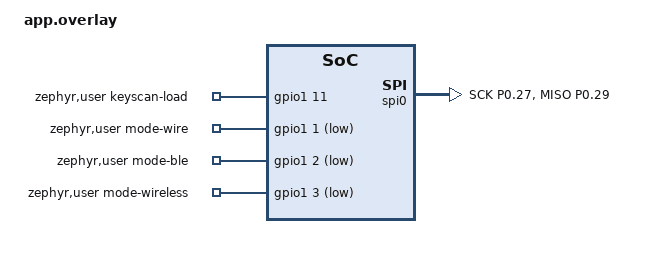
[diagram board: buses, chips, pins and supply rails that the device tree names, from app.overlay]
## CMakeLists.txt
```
# SPDX-License-Identifier: Apache-2.0

cmake_minimum_required(VERSION 3.20.0)
find_package(Zephyr REQUIRED HINTS $ENV{ZEPHYR_BASE})
project(hid-keyboard)

option(KBD_ENABLE_LOG "Enable KBD firmware logs" OFF)
if(KBD_ENABLE_LOG)
	target_compile_definitions(app PRIVATE KBD_ENABLE_LOG)
endif()

include(${ZEPHYR_BASE}/samples/subsys/usb/common/common.cmake)
zephyr_include_directories(src)
add_subdirectory(lib)
target_sources(app PRIVATE
	src/keymap.c
	src/main.c
)
```

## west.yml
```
manifest:
  remotes:
    - name: zephyrproject
      url-base: https://github.com/zephyrproject-rtos

  projects:
    - name: zephyr
      repo-path: zephyr
      remote: zephyrproject
      revision: v4.4.1
      import:
        path-prefix: deps

  self:
    path: applications/KBD_NRF52840
```

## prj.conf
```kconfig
CONFIG_USB_DEVICE_STACK_NEXT=y
CONFIG_CDC_ACM_SERIAL_INITIALIZE_AT_BOOT=n
CONFIG_USBD_HID_SUPPORT=y

CONFIG_LOG=y
CONFIG_USE_SEGGER_RTT=y
CONFIG_SEGGER_RTT_BUFFER_SIZE_UP=4096
CONFIG_RTT_CONSOLE=y
CONFIG_LOG_BACKEND_RTT=y
CONFIG_LOG_BACKEND_RTT_MODE_DROP=y
CONFIG_LOG_BACKEND_RTT_BUFFER_SIZE=4096
CONFIG_LOG_BACKEND_UART=n
CONFIG_UART_CONSOLE=n
CONFIG_CONSOLE=y
CONFIG_PRINTK=y
CONFIG_USBD_LOG_LEVEL_WRN=y
CONFIG_USBD_HID_LOG_LEVEL_WRN=y
CONFIG_UDC_DRIVER_LOG_LEVEL_WRN=y
CONFIG_SAMPLE_USBD_PID=0x0007

CONFIG_GPIO=y
CONFIG_SPI=y
CONFIG_INPUT=y
CONFIG_INPUT_MODE_SYNCHRONOUS=y

# Added automatically by Workbench for Zephyr
#--- DEBUG PRESET - BEGIN ---#
# Set to -Og
CONFIG_DEBUG_OPTIMIZATIONS=y
# Thread awareness support
CONFIG_DEBUG_THREAD_INFO=y
# Generate stack usage per-function
CONFIG_STACK_USAGE=y
# Other options in case not set by default
CONFIG_BUILD_OUTPUT_HEX=y
CONFIG_BUILD_OUTPUT_META=y
CONFIG_OUTPUT_SYMBOLS=y
CONFIG_OUTPUT_STAT=y
CONFIG_OUTPUT_DISASSEMBLY=y
CONFIG_OUTPUT_PRINT_MEMORY_USAGE=y
#--- DEBUG PRESET - END ---#
```

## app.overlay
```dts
/*
 * Copyright (c) 2023 Nordic Semiconductor ASA
 *
 * SPDX-License-Identifier: Apache-2.0
 */

#include <zephyr/dt-bindings/pinctrl/nrf-pinctrl.h>
#include <zephyr/dt-bindings/gpio/gpio.h>

/ {
	aliases {
		keyscan-spi = &spi0;

		/*
		 * Keyboard status LEDs.
		 *
		 * TODO: Replace these aliases with the real keyboard LED nodes
		 * when moving away from the nRF52840 DK LEDs.
		 */
		kbd-led-numlock = &led0;
		kbd-led-capslock = &led1;
		kbd-led-scrolllock = &led2;
	};

	hid_dev_0: hid_dev_0 {
		compatible = "zephyr,hid-device";
		label = "HID0";
		protocol-code = "keyboard";
		in-report-size = <64>;
		in-polling-period-us = <1000>;
		/*
		 * Leave interrupt OUT disabled. Keyboard LED output reports are
		 * handled through the control endpoint SET_REPORT path.
		 */
	};

	zephyr,user {
		keyscan-load-gpios = <&gpio1 11 GPIO_ACTIVE_HIGH>;
		mode-wire-gpios = <&gpio1 1 (GPIO_ACTIVE_LOW | GPIO_PULL_UP)>;
		mode-ble-gpios = <&gpio1 2 (GPIO_ACTIVE_LOW | GPIO_PULL_UP)>;
		mode-wireless-gpios = <&gpio1 3 (GPIO_ACTIVE_LOW | GPIO_PULL_UP)>;
	};
};

&spi0 {
	status = "okay";
	pinctrl-0 = <&kbd_scan_spi0_default>;
	pinctrl-1 = <&kbd_scan_spi0_sleep>;
	pinctrl-names = "default", "sleep";
};

&pinctrl {
	kbd_scan_spi0_default: kbd_scan_spi0_default {
		group1 {
			psels = <NRF_PSEL(SPIM_SCK, 0, 27)>,
				<NRF_PSEL(SPIM_MISO, 0, 29)>;
		};
	};

	kbd_scan_spi0_sleep: kbd_scan_spi0_sleep {
		group1 {
			psels = <NRF_PSEL(SPIM_SCK, 0, 27)>,
				<NRF_PSEL(SPIM_MISO, 0, 29)>;
			low-power-enable;
		};
	};
};
```

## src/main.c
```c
/*
 * Copyright (c) 2024 Nordic Semiconductor ASA
 *
 * SPDX-License-Identifier: Apache-2.0
 */

#include <sample_usbd.h>

#include <string.h>

#include <zephyr/kernel.h>
#include <zephyr/device.h>
#include <zephyr/drivers/gpio.h>
#include <zephyr/input/input.h>
#include <zephyr/sys/util.h>

#include <zephyr/usb/usbd.h>
#include <zephyr/usb/class/usbd_hid.h>

#include <zephyr/logging/log.h>
#include <debounce.h>
#include <kbd_define.h>
#include <key_state.h>
#include <keymap.h>
#include <keyscan_spi.h>
LOG_MODULE_REGISTER(main, KBD_LOG_LEVEL);

static const uint8_t hid_report_desc[] = {
	0x05, 0x01,                    /* Usage Page (Generic Desktop) */
	0x09, 0x06,                    /* Usage (Keyboard) */
	0xa1, 0x01,                    /* Collection (Application) */
	0x85, KBD_HID_REPORT_ID_KEYBOARD,

	0x05, 0x07,                    /* Usage Page (Keyboard/Keypad) */
	0x75, 0x01,                    /* Report Size (1) */
	0x95, 0x08,                    /* Report Count (8) */
	0x19, 0xe0,                    /* Usage Minimum (Left Control) */
	0x29, 0xe7,                    /* Usage Maximum (Right GUI) */
	0x15, 0x00,                    /* Logical Minimum (0) */
	0x25, 0x01,                    /* Logical Maximum (1) */
	0x81, 0x02,                    /* Input (Data, Variable, Absolute) */

	0x95, KBD_HID_KEYBOARD_BITMAP_BITS,
	0x75, 0x01,                    /* Report Size (1) */
	0x15, 0x00,                    /* Logical Minimum (0) */
	0x25, 0x01,                    /* Logical Maximum (1) */
	0x05, 0x07,                    /* Usage Page (Keyboard/Keypad) */
	0x19, 0x00,                    /* Usage Minimum (Reserved) */
	0x29, KBD_HID_KEYBOARD_USAGE_MAX,
	0x81, 0x02,                    /* Input (Data, Variable, Absolute) */

	0x95, 0x05,                    /* Report Count (5) */
	0x75, 0x01,                    /* Report Size (1) */
	0x05, 0x08,                    /* Usage Page (LEDs) */
	0x19, 0x01,                    /* Usage Minimum (Num Lock) */
	0x29, 0x05,                    /* Usage Maximum (Kana) */
	0x91, 0x02,                    /* Output (Data, Variable, Absolute) */
	0x95, 0x01,                    /* Report Count (1) */
	0x75, 0x03,                    /* Report Size (3) */
	0x91, 0x03,                    /* Output (Constant, Variable, Absolute) */
	0xc0,                          /* End Collection */

	0x05, 0x0c,                    /* Usage Page (Consumer) */
	0x09, 0x01,                    /* Usage (Consumer Control) */
	0xa1, 0x01,                    /* Collection (Application) */
	0x85, KBD_HID_REPORT_ID_CONSUMER,
	0x05, 0x0c,                    /* Usage Page (Consumer) */
	0x15, 0x00,                    /* Logical Minimum (0) */
	0x25, 0x01,                    /* Logical Maximum (1) */
	0x75, 0x01,                    /* Report Size (1) */
	0x95, 0x08,                    /* Report Count (8) */
	0x09, 0xe9,                    /* Usage (Volume Increment) */
	0x09, 0xea,                    /* Usage (Volume Decrement) */
	0x09, 0xe2,                    /* Usage (Mute) */
	0x09, 0xcd,                    /* Usage (Play/Pause) */
	0x09, 0xb7,                    /* Usage (Stop) */
	0x09, 0xb5,                    /* Usage (Scan Next Track) */
	0x09, 0xb6,                    /* Usage (Scan Previous Track) */
	0x0a, 0x92, 0x01,              /* Usage (Calculator) */
	0x81, 0x02,                    /* Input (Data, Variable, Absolute) */
	0xc0,                          /* End Collection */
};

enum kb_leds_idx {
	KB_LED_NUMLOCK = 0,
	KB_LED_CAPSLOCK,
	KB_LED_SCROLLLOCK,
	KB_LED_COUNT,
};

static const struct gpio_dt_spec kb_leds[KB_LED_COUNT] = {
	GPIO_DT_SPEC_GET_OR(DT_ALIAS(kbd_led_numlock), gpios, {0}),
	GPIO_DT_SPEC_GET_OR(DT_ALIAS(kbd_led_capslock), gpios, {0}),
	GPIO_DT_SPEC_GET_OR(DT_ALIAS(kbd_led_scrolllock), gpios, {0}),
};

enum keyboard_mode {
	KEYBOARD_MODE_WIRED,
	KEYBOARD_MODE_BLE,
	KEYBOARD_MODE_WIRELESS_24G,
};

#define KBD_USER_NODE DT_PATH(zephyr_user)

static const struct gpio_dt_spec mode_wire =
	GPIO_DT_SPEC_GET(KBD_USER_NODE, mode_wire_gpios);
static const struct gpio_dt_spec mode_ble =
	GPIO_DT_SPEC_GET(KBD_USER_NODE, mode_ble_gpios);
static const struct gpio_dt_spec mode_wireless =
	GPIO_DT_SPEC_GET(KBD_USER_NODE, mode_wireless_gpios);

struct kb_event {
	uint16_t code;
	int32_t value;
};

K_MSGQ_DEFINE(kb_msgq, sizeof(struct kb_event), 2, 1);
K_SEM_DEFINE(scan_sem, 0, 1);

UDC_STATIC_BUF_DEFINE(keyboard_report, KBD_HID_KEYBOARD_REPORT_BYTES);
UDC_STATIC_BUF_DEFINE(consumer_report, KBD_HID_CONSUMER_REPORT_BYTES);
static uint8_t keyboard_report_prev[KBD_HID_KEYBOARD_REPORT_BYTES];
static uint8_t consumer_report_prev[KBD_HID_CONSUMER_REPORT_BYTES];
static uint32_t kb_duration;
static bool kb_ready;
static uint8_t wireless_disconnect_counter;
static uint32_t wireless_keep_alive_fail_counter_ms;
static uint8_t keyboard_led_state;

static void scan_timer_expiry(struct k_timer *timer)
{
	ARG_UNUSED(timer);

	k_sem_give(&scan_sem);
}

K_TIMER_DEFINE(scan_timer, scan_timer_expiry, NULL);

static void keyboard_report_init(void)
{
	keyboard_report[0] = KBD_HID_REPORT_ID_KEYBOARD;
	consumer_report[0] = KBD_HID_REPORT_ID_CONSUMER;
	keyboard_report_prev[0] = KBD_HID_REPORT_ID_KEYBOARD;
	consumer_report_prev[0] = KBD_HID_REPORT_ID_CONSUMER;
}

static void keyboard_leds_set_state(uint8_t led_state)
{
	for (unsigned int i = 0; i < ARRAY_SIZE(kb_leds); i++) {
		bool enabled = (led_state & BIT(i)) != 0U;

		if (kb_leds[i].port == NULL) {
			continue;
		}

		(void)gpio_pin_set_dt(&kb_leds[i], enabled ? 1 : 0);
	}
}

static void keyboard_leds_clear(void)
{
	keyboard_leds_set_state(0);
}

static int keyboard_leds_set_report(const uint8_t id, const uint16_t len,
				    const uint8_t *const buf)
{
	if (len == 0U) {
		return 0;
	}

	if (id != 0U && id != KBD_HID_REPORT_ID_KEYBOARD) {
		LOG_WRN("Unsupported output report ID %u", id);
		return -ENOTSUP;
	}

	if (len > 1U && buf[0] == KBD_HID_REPORT_ID_KEYBOARD) {
		keyboard_led_state = buf[1];
	} else {
		keyboard_led_state = buf[0];
	}

	keyboard_led_state &= BIT(KB_LED_NUMLOCK) |
			      BIT(KB_LED_CAPSLOCK) |
			      BIT(KB_LED_SCROLLLOCK);

	LOG_INF("Keyboard LED state: 0x%02x", keyboard_led_state);
	keyboard_leds_set_state(keyboard_led_state);

	return 0;
}

static void keyboard_report_set_usage(uint16_t usage, bool pressed)
{
	uint16_t bit;
	uint8_t mask;

	if (usage >= 0xe0 && usage <= 0xe7) {
		mask = BIT(usage - 0xe0);
		if (pressed) {
			keyboard_report[1] |= mask;
		} else {
			keyboard_report[1] &= ~mask;
		}

		return;
	}

	if (usage > KBD_HID_KEYBOARD_USAGE_MAX) {
		LOG_WRN("Keyboard usage 0x%02x is outside NKRO bitmap", usage);
		return;
	}

	bit = usage + KBD_HID_KEYBOARD_BITMAP_BIT_OFFSET;
	mask = BIT(bit % 8U);

	if (pressed) {
		keyboard_report[bit / 8U] |= mask;
	} else {
		keyboard_report[bit / 8U] &= ~mask;
	}
}

static void keyboard_report_set_code(uint16_t code)
{
	uint8_t byte_index;
	uint8_t mask;

	if (code == KBD_KEY_NONE) {
		return;
	}

	if (code >= CONSUMER_VOLUME_INCREASE &&
	    code <= CONSUMER_AL_CALCULATOR) {
		consumer_report[1] |= BIT(code - CONSUMER_VOLUME_INCREASE);
		return;
	}

	byte_index = code / 8U;
	if (byte_index >= KBD_HID_KEYBOARD_REPORT_BYTES) {
		LOG_WRN("Keymap code %u is outside keyboard report", code);
		return;
	}

	mask = BIT(code % 8U);
	keyboard_report[byte_index] |= mask;
}

static void keyboard_report_build_from_keymap(void)
{
	uint8_t active_layer = keymap_get_active_layer();
	struct key_state *keys = key_state_buffer_get();

	memset(&keyboard_report[1], 0, KBD_HID_KEYBOARD_REPORT_BYTES - 1);
	consumer_report[1] = 0;

	for (uint16_t key = 0; key < KBD_KEY_COUNT; key++) {
		if (!keys[key].press_status || keymap_is_fn_key(key)) {
			continue;
		}

		keyboard_report_set_code(keymap_get_code(active_layer, key));
	}
}

static bool keyboard_scan_once(void)
{
	int ret;

	LOG_DBG("Main thread: Scan");

	ret = keyscan_read();
	if (ret != 0) {
		LOG_ERR("Matrix scan failed, %d", ret);
		return false;
	}

	if (debounce_update()) {
		LOG_INF("Debounced key state changed");
		keyscan_log_changes();
		return true;
	}

	return false;
}

static void __maybe_unused wireless_disconnect_counter_reset(void)
{
	wireless_disconnect_counter = 0;
	wireless_keep_alive_fail_counter_ms = k_uptime_get_32();
}

static void __maybe_unused wireless_disconnect_counter_add_report_fail(void)
{
	if (wireless_disconnect_counter < KBD_WIRELESS_DISCONNECT_COUNTER_THRESHOLD) {
		wireless_disconnect_counter++;
	}

	if (wireless_disconnect_counter >= KBD_WIRELESS_DISCONNECT_COUNTER_THRESHOLD) {
		keyboard_leds_clear();
	}
}

static void __maybe_unused wireless_disconnect_counter_add_keep_alive_fail(void)
{
	uint32_t now = k_uptime_get_32();

	if ((now - wireless_keep_alive_fail_counter_ms) <
	    KBD_WIRELESS_DISCONNECT_COUNTER_PERIOD_MS) {
		return;
	}

	wireless_keep_alive_fail_counter_ms = now;
	wireless_disconnect_counter_add_report_fail();
}

static void __maybe_unused wireless_sleep_prepare(void)
{
	keyboard_leds_clear();
}

static void keyboard_submit_report(const struct device *hid_dev,
				   struct usbd_context *sample_usbd,
				   const uint8_t *report,
				   size_t report_size,
				   bool wake_on_press)
{
	int ret;

	if (!kb_ready) {
		LOG_INF("USB HID device is not ready");
		return;
	}

	if (IS_ENABLED(CONFIG_SAMPLE_USBD_REMOTE_WAKEUP) &&
	    usbd_is_suspended(sample_usbd)) {
		if (wake_on_press) {
			ret = usbd_wakeup_request(sample_usbd);
			if (ret) {
				LOG_ERR("Remote wakeup error, %d", ret);
			}
		}
		return;
	}

	LOG_DBG("Main thread: USB report");

	ret = hid_device_submit_report(hid_dev, report_size, report);
	if (ret) {
		LOG_ERR("HID submit report error, %d", ret);
	}
}

static void keyboard_submit_keymap_reports(const struct device *hid_dev,
					   struct usbd_context *sample_usbd)
{
	keyboard_report_build_from_keymap();

	if (memcmp(keyboard_report_prev, keyboard_report,
		   sizeof(keyboard_report_prev)) != 0) {
		keyboard_submit_report(hid_dev, sample_usbd,
				       keyboard_report,
				       KBD_HID_KEYBOARD_REPORT_BYTES,
				       keyboard_report[1] != 0U);
		memcpy(keyboard_report_prev, keyboard_report,
		       sizeof(keyboard_report_prev));
	}

	if (memcmp(consumer_report_prev, consumer_report,
		   sizeof(consumer_report_prev)) != 0) {
		keyboard_submit_report(hid_dev, sample_usbd,
				       consumer_report,
				       KBD_HID_CONSUMER_REPORT_BYTES,
				       consumer_report[1] != 0U);
		memcpy(consumer_report_prev, consumer_report,
		       sizeof(consumer_report_prev));
	}
}

static void keyboard_process_input_events(const struct device *hid_dev,
					  struct usbd_context *sample_usbd)
{
	struct kb_event kb_evt;

	while (k_msgq_get(&kb_msgq, &kb_evt, K_NO_WAIT) == 0) {
		switch (kb_evt.code) {
		case INPUT_KEY_0:
			keyboard_report_set_usage(HID_KEY_NUMLOCK, kb_evt.value);
			break;
		case INPUT_KEY_1:
			keyboard_report_set_usage(HID_KEY_CAPSLOCK, kb_evt.value);
			break;
		case INPUT_KEY_2:
			keyboard_report_set_usage(HID_KEY_SCROLLLOCK, kb_evt.value);
			break;
		case INPUT_KEY_3:
			keyboard_report_set_usage(0xe6, kb_evt.value);
			keyboard_report_set_usage(HID_KEY_1, kb_evt.value);
			keyboard_report_set_usage(HID_KEY_2, kb_evt.value);
			keyboard_report_set_usage(HID_KEY_3, kb_evt.value);
			break;
		default:
			LOG_INF("Unrecognized input code %u value %d",
				kb_evt.code, kb_evt.value);
			continue;
		}

		keyboard_submit_report(hid_dev, sample_usbd,
				       keyboard_report,
				       KBD_HID_KEYBOARD_REPORT_BYTES,
				       kb_evt.value);
	}
}

static int mode_gpio_init_one(const struct gpio_dt_spec *gpio)
{
	if (!gpio_is_ready_dt(gpio)) {
		LOG_ERR("Mode GPIO device %s is not ready", gpio->port->name);
		return -ENODEV;
	}

	return gpio_pin_configure_dt(gpio, GPIO_INPUT);
}

static int mode_gpio_init(void)
{
	int ret;

	ret = mode_gpio_init_one(&mode_wire);
	if (ret != 0) {
		return ret;
	}

	ret = mode_gpio_init_one(&mode_ble);
	if (ret != 0) {
		return ret;
	}

	return mode_gpio_init_one(&mode_wireless);
}

static enum keyboard_mode __maybe_unused keyboard_mode_detect(void)
{
	if (gpio_pin_get_dt(&mode_wire) > 0) {
		LOG_INF("Keyboard mode: wired");
		return KEYBOARD_MODE_WIRED;
	}

	if (gpio_pin_get_dt(&mode_ble) > 0) {
		LOG_INF("Keyboard mode: BLE");
		return KEYBOARD_MODE_BLE;
	}

	if (gpio_pin_get_dt(&mode_wireless) > 0) {
		LOG_INF("Keyboard mode: 2.4G");
		return KEYBOARD_MODE_WIRELESS_24G;
	}

	LOG_WRN("No mode switch active, defaulting to wired mode");
	return KEYBOARD_MODE_WIRED;
}

static int peripheral_init(void)
{
	int ret;

	keyboard_report_init();
	keymap_init();

	ret = keyscan_init();
	if (ret != 0) {
		return ret;
	}

	k_timer_start(&scan_timer,
		      K_USEC(KBD_SCAN_PERIOD_US),
		      K_USEC(KBD_SCAN_PERIOD_US));

	return 0;
}

static void wireless_24g_mode_dummy(void)
{
	LOG_INF("2.4G mode dummy init");

	/*
	 * Future Gazell transport rules:
	 * - TX success calls wireless_disconnect_counter_reset(), with or
	 *   without LED ACK.
	 * - Normal report TX failure calls
	 *   wireless_disconnect_counter_add_report_fail().
	 * - Keep-alive TX failure calls
	 *   wireless_disconnect_counter_add_keep_alive_fail(), which advances
	 *   the shared counter only on
	 *   KBD_WIRELESS_DISCONNECT_COUNTER_PERIOD_MS boundaries.
	 * - Disconnected state and wireless sleep must call keyboard_leds_clear()
	 *   so Caps/Num/Scroll indicators do not remain latched.
	 * - Keep-alive traffic must not reset the wireless sleep idle timer.
	 */
	while (true) {
		k_sem_take(&scan_sem, K_FOREVER);
		(void)keyboard_scan_once();
	}
}

static void ble_mode_dummy(void)
{
	LOG_INF("BLE mode dummy init");

	while (true) {
		k_sem_take(&scan_sem, K_FOREVER);
		(void)keyboard_scan_once();
	}
}

static void input_cb(struct input_event *evt, void *user_data)
{
	struct kb_event kb_evt;

	ARG_UNUSED(user_data);

	kb_evt.code = evt->code;
	kb_evt.value = evt->value;
	if (k_msgq_put(&kb_msgq, &kb_evt, K_NO_WAIT) != 0) {
		LOG_ERR("Failed to put new input event");
	}
}

INPUT_CALLBACK_DEFINE(NULL, input_cb, NULL);

static void kb_iface_ready(const struct device *dev, const bool ready)
{
	LOG_INF("HID device %s interface is %s",
		dev->name, ready ? "ready" : "not ready");
	kb_ready = ready;
}

static int kb_get_report(const struct device *dev,
			 const uint8_t type, const uint8_t id, const uint16_t len,
			 uint8_t *const buf)
{
	if (type != HID_REPORT_TYPE_OUTPUT) {
		LOG_WRN("Unsupported Get Report type %u ID %u", type, id);
		return -ENOTSUP;
	}

	if (id != 0U && id != KBD_HID_REPORT_ID_KEYBOARD) {
		LOG_WRN("Unsupported output report ID %u", id);
		return -ENOTSUP;
	}

	if (len == 0U) {
		return -EINVAL;
	}

	buf[0] = keyboard_led_state;
	LOG_INF("Get keyboard LED state: 0x%02x", keyboard_led_state);

	return 1;
}

static int kb_set_report(const struct device *dev,
			 const uint8_t type, const uint8_t id, const uint16_t len,
			 const uint8_t *const buf)
{
	if (type != HID_REPORT_TYPE_OUTPUT) {
		LOG_WRN("Unsupported report type");
		return -ENOTSUP;
	}

	return keyboard_leds_set_report(id, len, buf);
}

/* Idle duration is stored but not used to calculate idle reports. */
static void kb_set_idle(const struct device *dev,
			const uint8_t id, const uint32_t duration)
{
	LOG_INF("Set Idle %u to %u", id, duration);
	kb_duration = duration;
}

static uint32_t kb_get_idle(const struct device *dev, const uint8_t id)
{
	LOG_INF("Get Idle %u to %u", id, kb_duration);
	return kb_duration;
}

static void kb_set_protocol(const struct device *dev, const uint8_t proto)
{
	LOG_INF("Protocol changed to %s",
		proto == 0U ? "Boot Protocol" : "Report Protocol");
}

static void __maybe_unused kb_output_report(const struct device *dev,
					    const uint16_t len,
					    const uint8_t *const buf)
{
	LOG_HEXDUMP_INF(buf, len, "Output report");
	/*
	 * This callback may receive either [led_state] or
	 * [report_id, led_state]. Do not pass buf[0] as the report ID here:
	 * for [led_state], CapsLock is 0x02 and Num+Caps is 0x03.
	 */
	kb_set_report(dev, HID_REPORT_TYPE_OUTPUT, 0U, len, buf);
}

struct hid_device_ops kb_ops = {
	.iface_ready = kb_iface_ready,
	.get_report = kb_get_report,
	.set_report = kb_set_report,
	.set_idle = kb_set_idle,
	.get_idle = kb_get_idle,
	.set_protocol = kb_set_protocol,
	.output_report = NULL,
};

/* doc device msg-cb start */
static void msg_cb(struct usbd_context *const usbd_ctx,
		   const struct usbd_msg *const msg)
{
	LOG_INF("USBD message: %s", usbd_msg_type_string(msg->type));

	if (msg->type == USBD_MSG_CONFIGURATION) {
		LOG_INF("\tConfiguration value %d", msg->status);
	}

	if (usbd_can_detect_vbus(usbd_ctx)) {
		if (msg->type == USBD_MSG_VBUS_READY) {
			if (usbd_enable(usbd_ctx)) {
				LOG_ERR("Failed to enable device support");
			}
		}

		if (msg->type == USBD_MSG_VBUS_REMOVED) {
			if (usbd_disable(usbd_ctx)) {
				LOG_ERR("Failed to disable device support");
			}
		}
	}
}
/* doc device msg-cb end */

static int wired_mode_run(void)
{
	struct usbd_context *sample_usbd;
	const struct device *hid_dev;
	int ret;

	LOG_INF("Wired mode init");

	for (unsigned int i = 0; i < ARRAY_SIZE(kb_leds); i++) {
		if (kb_leds[i].port == NULL) {
			continue;
		}

		if (!gpio_is_ready_dt(&kb_leds[i])) {
			LOG_ERR("LED device %s is not ready", kb_leds[i].port->name);
			return -EIO;
		}

		ret = gpio_pin_configure_dt(&kb_leds[i], GPIO_OUTPUT_INACTIVE);
		if (ret != 0) {
			LOG_ERR("Failed to configure the LED pin, %d", ret);
			return -EIO;
		}
	}

	hid_dev = DEVICE_DT_GET_ONE(zephyr_hid_device);
	if (!device_is_ready(hid_dev)) {
		LOG_ERR("HID Device is not ready");
		return -EIO;
	}

	ret = hid_device_register(hid_dev,
				  hid_report_desc, sizeof(hid_report_desc),
				  &kb_ops);
	if (ret != 0) {
		LOG_ERR("Failed to register HID Device, %d", ret);
		return ret;
	}

	if (IS_ENABLED(CONFIG_USBD_HID_SET_POLLING_PERIOD)) {
		ret = hid_device_set_in_polling(hid_dev, 1000);
		if (ret) {
			LOG_WRN("Failed to set IN report polling period, %d", ret);
		}

		ret = hid_device_set_out_polling(hid_dev, 1000);
		if (ret != 0 && ret != -ENOTSUP) {
			LOG_WRN("Failed to set OUT report polling period, %d", ret);
		}
	}

	sample_usbd = sample_usbd_init_device(msg_cb);
	if (sample_usbd == NULL) {
		LOG_ERR("Failed to initialize USB device");
		return -ENODEV;
	}

	if (!usbd_can_detect_vbus(sample_usbd)) {
		/* doc device enable start */
		ret = usbd_enable(sample_usbd);
		if (ret) {
			LOG_ERR("Failed to enable device support");
			return ret;
		}
		/* doc device enable end */
	}

	LOG_INF("HID keyboard sample is initialized");

	while (true) {
		k_sem_take(&scan_sem, K_FOREVER);
		if (keyboard_scan_once()) {
			keyboard_submit_keymap_reports(hid_dev, sample_usbd);
		}
		keyboard_process_input_events(hid_dev, sample_usbd);
	}

	return 0;
}

int main(void)
{
	enum keyboard_mode mode;
	int ret;

	k_thread_priority_set(k_current_get(), KBD_MAIN_THREAD_PRIORITY);

	ret = mode_gpio_init();
	if (ret != 0) {
		return ret;
	}

	/* Force wired mode until the mode switch hardware is ready. */
	mode = KEYBOARD_MODE_WIRED;

	ret = peripheral_init();
	if (ret != 0) {
		return ret;
	}

	switch (mode) {
	case KEYBOARD_MODE_WIRELESS_24G:
		wireless_24g_mode_dummy();
		break;
	case KEYBOARD_MODE_BLE:
		ble_mode_dummy();
		break;
	case KEYBOARD_MODE_WIRED:
	default:
		return wired_mode_run();
	}

	return 0;
}
```

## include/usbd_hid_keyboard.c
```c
/**
 * Copyright (c) 2016 - 2021, Nordic Semiconductor ASA
 *
 * All rights reserved.
 *
 * Redistribution and use in source and binary forms, with or without modification,
 * are permitted provided that the following conditions are met:
 *
 * 1. Redistributions of source code must retain the above copyright notice, this
 *    list of conditions and the following disclaimer.
 *
 * 2. Redistributions in binary form, except as embedded into a Nordic
 *    Semiconductor ASA integrated circuit in a product or a software update for
 *    such product, must reproduce the above copyright notice, this list of
 *    conditions and the following disclaimer in the documentation and/or other
 *    materials provided with the distribution.
 *
 * 3. Neither the name of Nordic Semiconductor ASA nor the names of its
 *    contributors may be used to endorse or promote products derived from this
 *    software without specific prior written permission.
 *
 * 4. This software, with or without modification, must only be used with a
 *    Nordic Semiconductor ASA integrated circuit.
 *
 * 5. Any software provided in binary form under this license must not be reverse
 *    engineered, decompiled, modified and/or disassembled.
 *
 * THIS SOFTWARE IS PROVIDED BY NORDIC SEMICONDUCTOR ASA "AS IS" AND ANY EXPRESS
 * OR IMPLIED WARRANTIES, INCLUDING, BUT NOT LIMITED TO, THE IMPLIED WARRANTIES
 * OF MERCHANTABILITY, NONINFRINGEMENT, AND FITNESS FOR A PARTICULAR PURPOSE ARE
 * DISCLAIMED. IN NO EVENT SHALL NORDIC SEMICONDUCTOR ASA OR CONTRIBUTORS BE
 * LIABLE FOR ANY DIRECT, INDIRECT, INCIDENTAL, SPECIAL, EXEMPLARY, OR
 * CONSEQUENTIAL DAMAGES (INCLUDING, BUT NOT LIMITED TO, PROCUREMENT OF SUBSTITUTE
 * GOODS OR SERVICES; LOSS OF USE, DATA, OR PROFITS; OR BUSINESS INTERRUPTION)
 * HOWEVER CAUSED AND ON ANY THEORY OF LIABILITY, WHETHER IN CONTRACT, STRICT
 * LIABILITY, OR TORT (INCLUDING NEGLIGENCE OR OTHERWISE) ARISING IN ANY WAY OUT
 * OF THE USE OF THIS SOFTWARE, EVEN IF ADVISED OF THE POSSIBILITY OF SUCH DAMAGE.
 *
 */
#include "sdk_common.h"
#if NRF_MODULE_ENABLED(USBD_HID_KEYBOARD)

#include <string.h>
#include "usbd_hid_keyboard.h"
#include "app_util_platform.h"

/**
 * @defgroup app_usbd_hid_kbd_internals USB HID keyboard internals
 * @{
 * @ingroup app_usbd_hid_kbd
 * @internal
 */

STATIC_ASSERT(sizeof(app_usbd_hid_descriptor_t) == 6);

/**
 * @brief Auxiliary function to access HID keyboard context data.
 *
 * @param[in] p_inst class instance data.
 *
 * @return HID keyboard instance data context.
 */
static inline app_usbd_hid_kbd_ctx_t * hid_kbd_ctx_get(app_usbd_hid_kbd_t const * p_kbd)
{
    ASSERT(p_kbd != NULL);
    ASSERT(p_kbd->specific.p_data != NULL);
    return &p_kbd->specific.p_data->ctx;
}


/**
 * @brief Auxiliary function to access HID keyboard instance data.
 *
 * @param[in] p_inst class instance data.
 *
 * @return HID keyboard instance data.
 */
static inline app_usbd_hid_kbd_t const * hid_kbd_get(app_usbd_class_inst_t const * p_inst)
{
    ASSERT(p_inst != NULL);
    return (app_usbd_hid_kbd_t const *)p_inst;
}


/**
 * @brief Returns keyboard report buffer handle.
 *
 * @param[in] p_kbd HID keyboard instance.
 *
 * @return HID report buffer.
 */
static inline
app_usbd_hid_report_buffer_t const * hid_kbd_rep_buffer_get(app_usbd_hid_kbd_t const * p_kbd)
{
    ASSERT(p_kbd != NULL);
    app_usbd_hid_inst_t const    * p_hinst    = &p_kbd->specific.inst.hid_inst;
    app_usbd_hid_kbd_ctx_t       * p_kbd_ctx  = hid_kbd_ctx_get(p_kbd);
    app_usbd_hid_report_buffer_t * p_rep_buff = app_usbd_hid_rep_buff_in_get(p_hinst);

    p_rep_buff->p_buff = p_kbd_ctx->report_buff;
    p_rep_buff->size   = sizeof(p_kbd_ctx->report_buff);

    /*Keyboard has only one report input/output report buffer */
    return app_usbd_hid_rep_buff_in_get(p_hinst);
}


/**
 * @brief Auxiliary function to prepare report transfer buffer to next transfer.
 *
 * @param[in] p_kbd HID keyboard instance.
 *
 * @retval true     Next transfer is required.
 * @retval false    Next transfer is not required.
 */
static inline bool hid_kbd_transfer_next(app_usbd_hid_kbd_t const * p_kbd)
{
    /*Send report only when state has changed*/
    app_usbd_hid_report_buffer_t const * p_rep_buffer = hid_kbd_rep_buffer_get(p_kbd);
    app_usbd_hid_kbd_ctx_t             * p_kbd_ctx    = hid_kbd_ctx_get(p_kbd);

    if (memcmp(p_rep_buffer->p_buff, &p_kbd_ctx->rep, p_rep_buffer->size))
    {
        memcpy(p_rep_buffer->p_buff, &p_kbd_ctx->rep, p_rep_buffer->size);
        return true;
    }

    return false;
}


/**
 * @brief Triggers IN endpoint transfer.
 *
 * @param[in] p_kbd HID keyboard instance.
 *
 * @return Standard error code.
 */
static inline ret_code_t hid_kbd_transfer_set(app_usbd_hid_kbd_t const * p_kbd)
{
    app_usbd_class_inst_t const * p_inst    = (app_usbd_class_inst_t const *)p_kbd;
    app_usbd_hid_kbd_ctx_t      * p_kbd_ctx = hid_kbd_ctx_get(p_kbd);

    nrf_drv_usbd_ep_t ep_addr = app_usbd_hid_epin_addr_get(p_inst);

    app_usbd_hid_state_flag_clr(&p_kbd_ctx->hid_ctx, APP_USBD_HID_STATE_FLAG_TRANS_IN_PROGRESS);

    if (!hid_kbd_transfer_next(p_kbd))
    {
        /* Transfer buffer hasn't changed since last transfer. No need to setup
         * next transfer.
         * */
        return NRF_SUCCESS;
    }

    app_usbd_hid_report_buffer_t const * p_rep_buffer = hid_kbd_rep_buffer_get(p_kbd);
    NRF_DRV_USBD_TRANSFER_IN(transfer, p_rep_buffer->p_buff, p_rep_buffer->size);

    ret_code_t ret;
    CRITICAL_REGION_ENTER();
    ret = app_usbd_ep_transfer(ep_addr, &transfer);
    if (ret == NRF_SUCCESS)
    {
        app_usbd_hid_state_flag_set(&p_kbd_ctx->hid_ctx, APP_USBD_HID_STATE_FLAG_TRANS_IN_PROGRESS);
    }
    CRITICAL_REGION_EXIT();

    return ret;
}


ret_code_t app_usbd_hid_kbd_modifier_state_set(app_usbd_hid_kbd_t const  * p_kbd,
                                               app_usbd_hid_kbd_modifier_t modifier,
                                               bool                        state)
{
    app_usbd_hid_kbd_ctx_t * p_kbd_ctx    = hid_kbd_ctx_get(p_kbd);
    bool                     actual_state = (p_kbd_ctx->rep.modifier & modifier) != 0;

    if (actual_state == state)
    {
        /*Modifier has already the same state*/
        return NRF_SUCCESS;
    }

    app_usbd_hid_access_lock(&p_kbd_ctx->hid_ctx);

    if (state)
    {
        p_kbd_ctx->rep.modifier |= modifier;
    }
    else
    {
        p_kbd_ctx->rep.modifier &= ~modifier;
    }
    app_usbd_hid_access_unlock(&p_kbd_ctx->hid_ctx);

    if (app_usbd_hid_trans_required(&p_kbd_ctx->hid_ctx))
    {
        /*New transfer need to be triggered*/
        return hid_kbd_transfer_set(p_kbd);
    }

    return NRF_SUCCESS;
}


ret_code_t app_usbd_hid_kbd_key_control(app_usbd_hid_kbd_t const * p_kbd,
                                        app_usbd_hid_kbd_codes_t   key,
                                        bool                       press)
{
    app_usbd_hid_kbd_ctx_t * p_kbd_ctx   = hid_kbd_ctx_get(p_kbd);
    uint8_t                * destination = NULL;

    if (press)
    {
        for (size_t i = 0; i < ARRAY_SIZE(p_kbd_ctx->rep.key_table); ++i)
        {
            if (p_kbd_ctx->rep.key_table[i] == key)
            {
                /*Already pressed*/
                return NRF_SUCCESS;
            }

            if ((destination == NULL) && (p_kbd_ctx->rep.key_table[i] == 0))
            {
                destination = &p_kbd_ctx->rep.key_table[i];
            }
        }

        if (destination == NULL)
        {
            return NRF_ERROR_BUSY;
        }
    }
    else
    {
        /*Find if key is pressed*/
        for (size_t i = 0; i < ARRAY_SIZE(p_kbd_ctx->rep.key_table); ++i)
        {
            if (p_kbd_ctx->rep.key_table[i] == key)
            {
                destination = &p_kbd_ctx->rep.key_table[i];
                break;
            }
        }

        if (destination == NULL)
        {
            /*Key hasn't been pressed*/
            return NRF_SUCCESS;
        }
    }

    /*Save destination*/
    app_usbd_hid_access_lock(&p_kbd_ctx->hid_ctx);
    *destination = press ? key : 0;
    app_usbd_hid_access_unlock(&p_kbd_ctx->hid_ctx);

    if (app_usbd_hid_trans_required(&p_kbd_ctx->hid_ctx))
    {
        /*New transfer need to be triggered*/
        return hid_kbd_transfer_set(p_kbd);
    }

    return NRF_SUCCESS;
}


bool app_usbd_hid_kbd_led_state_get(app_usbd_hid_kbd_t const * p_kbd,
                                    app_usbd_hid_kbd_led_t     led)
{
    app_usbd_hid_kbd_ctx_t * p_kbd_ctx = hid_kbd_ctx_get(p_kbd);

    return (p_kbd_ctx->leds_state & led) != 0;
}

const void * app_usbd_hid_kbd_in_report_get(app_usbd_hid_kbd_t const * p_kbd,
                                            size_t * p_size)
{
    app_usbd_hid_inst_t const * p_kinst = &p_kbd->specific.inst.hid_inst;
    *p_size = p_kinst->p_rep_buffer_in->size;
    return p_kinst->p_rep_buffer_in->p_buff;
}

const void * app_usbd_hid_kbd_out_report_get(app_usbd_hid_kbd_t const * p_kbd,
                                             size_t * p_size)
{
    app_usbd_hid_inst_t const * p_kinst = &p_kbd->specific.inst.hid_inst;
    *p_size = p_kinst->p_rep_buffer_out->size;
    return p_kinst->p_rep_buffer_out->p_buff;
}

/**
 * @brief @ref app_usbd_hid_interface_t::on_get_report
 */
static ret_code_t hid_kbd_on_get_report(app_usbd_class_inst_t const * p_inst,
                                        app_usbd_setup_evt_t const  * p_setup_ev)
{
    app_usbd_hid_kbd_t const * p_kinst = hid_kbd_get(p_inst);
    uint8_t const * p_rep_buffer = NULL;
    size_t buffer_size = 0;

    if (p_setup_ev->setup.wValue.hb == APP_USBD_HID_REPORT_TYPE_INPUT)
    {
        p_rep_buffer = app_usbd_hid_kbd_in_report_get(p_kinst, &buffer_size);
    }
    else if (p_setup_ev->setup.wValue.hb == APP_USBD_HID_REPORT_TYPE_OUTPUT)
    {
        p_rep_buffer = app_usbd_hid_kbd_out_report_get(p_kinst, &buffer_size);
    }
    else
    {
        return NRF_ERROR_NOT_SUPPORTED;
    }

    /* Return LEDs state (only the second byte) */
    return app_usbd_core_setup_rsp(&(p_setup_ev->setup), p_rep_buffer + 1, buffer_size - 1);
}


static ret_code_t hid_kbd_on_set_report_data_cb(nrf_drv_usbd_ep_status_t status, void * p_context)
{
    if (status != NRF_USBD_EP_OK)
    {
        return NRF_ERROR_INTERNAL;
    }

    app_usbd_hid_kbd_t const           * p_kbd = p_context;
    app_usbd_hid_report_buffer_t const * p_rep_buff;
    p_rep_buff = app_usbd_hid_rep_buff_out_get(&p_kbd->specific.inst.hid_inst);

    /*Update LEDs state*/
    app_usbd_hid_kbd_ctx_t * p_kbd_ctx = hid_kbd_ctx_get(p_kbd);
    p_kbd_ctx->leds_state = p_rep_buff->p_buff[1];

    app_usbd_hid_user_ev_handler_t handler = p_kbd->specific.inst.hid_inst.user_event_handler;
    handler((app_usbd_class_inst_t const *)(p_kbd), APP_USBD_HID_USER_EVT_OUT_REPORT_READY);
    return NRF_SUCCESS;
}


/**
 * @brief @ref app_usbd_hid_interface_t::hid_kbd_on_set_report
 */
static ret_code_t hid_kbd_on_set_report(app_usbd_class_inst_t const * p_inst,
                                        app_usbd_setup_evt_t const  * p_setup_ev)
{
    app_usbd_hid_kbd_t const * p_kbd = hid_kbd_get(p_inst);

    /*Request setup data*/
    app_usbd_hid_report_buffer_t const * p_rep_buff;

    p_rep_buff = app_usbd_hid_rep_buff_out_get(&p_kbd->specific.inst.hid_inst);

    p_rep_buff->p_buff[0] = 0;
    NRF_DRV_USBD_TRANSFER_OUT(transfer, p_rep_buff->p_buff + 1, p_rep_buff->size - 1);

    ret_code_t ret;
    CRITICAL_REGION_ENTER();
    ret = app_usbd_ep_transfer(NRF_DRV_USBD_EPOUT0, &transfer);
    if (ret == NRF_SUCCESS)
    {
        app_usbd_core_setup_data_handler_desc_t desc = {
            .handler   = hid_kbd_on_set_report_data_cb,
            .p_context = (app_usbd_hid_kbd_t *)p_kbd
        };

        ret = app_usbd_core_setup_data_handler_set(NRF_DRV_USBD_EPOUT0, &desc);
    }
    CRITICAL_REGION_EXIT();

    return ret;
}


/**
 * @brief @ref app_usbd_hid_interface_t::hid_kbd_ep_transfer_in
 */
static ret_code_t hid_kbd_ep_transfer_in(app_usbd_class_inst_t const * p_inst)
{
    return hid_kbd_transfer_set((app_usbd_hid_kbd_t const *)p_inst);
}


/**
 * @brief @ref app_usbd_class_interface_t::event_handler
 */
static ret_code_t hid_kbd_event_handler(app_usbd_class_inst_t const  * p_inst,
                                        app_usbd_complex_evt_t const * p_event)
{
    ASSERT(p_inst != NULL);
    ASSERT(p_event != NULL);

    app_usbd_hid_kbd_t const  * p_kbd   = hid_kbd_get(p_inst);
    app_usbd_hid_inst_t const * p_hinst = &p_kbd->specific.inst.hid_inst;

    app_usbd_hid_kbd_ctx_t * p_kbd_ctx = hid_kbd_ctx_get(p_kbd);
    app_usbd_hid_ctx_t     * p_hid_ctx = &p_kbd_ctx->hid_ctx;

    /*Try handle event by generic HID event handler*/
    return app_usbd_hid_event_handler(p_inst, p_hinst, p_hid_ctx, p_event);
}

ret_code_t hid_kbd_clear_buffer(app_usbd_class_inst_t const * p_inst)
{
    ASSERT(p_inst != NULL);

    app_usbd_hid_kbd_t const *              p_kbd        = hid_kbd_get(p_inst);
    app_usbd_hid_kbd_ctx_t *                p_kbd_ctx    = hid_kbd_ctx_get(p_kbd);
    app_usbd_hid_report_buffer_t const *    p_rep_buffer = hid_kbd_rep_buffer_get(p_kbd);

    memset(p_rep_buffer->p_buff, 0, p_rep_buffer->size);
    memset(p_kbd_ctx->report_buff, 0, p_rep_buffer->size);
    memset(&p_kbd_ctx->rep, 0, p_rep_buffer->size);
    
    CRITICAL_REGION_ENTER();
    
        
    nrf_drv_usbd_ep_t ep_addr = app_usbd_hid_epin_addr_get(p_inst);

    ASSERT(!NRF_USBD_EPISO_CHECK(ep_addr));

    if (NRF_USBD_EPIN_CHECK(ep_addr))
    {
        nrf_drv_usbd_ep_abort(ep_addr);
    }

    app_usbd_hid_state_flag_clr(&p_kbd_ctx->hid_ctx, APP_USBD_HID_STATE_FLAG_TRANS_IN_PROGRESS);
    CRITICAL_REGION_EXIT();
    
    return NRF_SUCCESS;
}


static uint8_t hid_kbd_get_class_descriptors_count(app_usbd_class_inst_t const * p_inst)
{
    app_usbd_hid_kbd_t const  * p_kbd   = hid_kbd_get(p_inst);
    app_usbd_hid_inst_t const * p_hinst = &p_kbd->specific.inst.hid_inst;

    return p_hinst->subclass_desc_count;
}


static app_usbd_descriptor_t hid_kbd_get_class_descriptors_type(
    app_usbd_class_inst_t const * p_inst,
    uint8_t                       desc_num)
{
    app_usbd_hid_kbd_t const  * p_kbd   = hid_kbd_get(p_inst);
    app_usbd_hid_inst_t const * p_hinst = &p_kbd->specific.inst.hid_inst;

    return p_hinst->p_subclass_desc[desc_num]->type;
}


static size_t hid_kbd_get_class_descriptors_length(app_usbd_class_inst_t const * p_inst,
                                                   uint8_t                       desc_num)
{
    app_usbd_hid_kbd_t const  * p_kbd   = hid_kbd_get(p_inst);
    app_usbd_hid_inst_t const * p_hinst = &p_kbd->specific.inst.hid_inst;

    return p_hinst->p_subclass_desc[desc_num]->size;
}


static const uint8_t * hid_kbd_get_class_descriptors_data(app_usbd_class_inst_t const * p_inst,
                                                          uint8_t                       desc_num,
                                                          uint32_t                      cur_byte)
{
    app_usbd_hid_kbd_t const  * p_kbd   = hid_kbd_get(p_inst);
    app_usbd_hid_inst_t const * p_hinst = &p_kbd->specific.inst.hid_inst;
    const uint8_t * p_byte = &p_hinst->p_subclass_desc[desc_num]->p_data[cur_byte];

    return p_byte;
}


static bool hid_kbd_feed_descriptors(app_usbd_class_descriptor_ctx_t                   * p_ctx,
                                     app_usbd_class_inst_t const                       * p_inst,
                                     uint8_t                                           * p_buff,
                                     size_t                                              max_size)
{
    static uint8_t ifaces   = 0;
    ifaces = app_usbd_class_iface_count_get(p_inst);
    app_usbd_hid_kbd_t const * p_kbd = hid_kbd_get(p_inst);

    APP_USBD_CLASS_DESCRIPTOR_BEGIN(p_ctx, p_buff, max_size);

    static uint8_t i = 0;

    for (i = 0; i < ifaces; i++)
    {
        /* INTERFACE DESCRIPTOR */
        APP_USBD_CLASS_DESCRIPTOR_WRITE(0x09); // bLength
        APP_USBD_CLASS_DESCRIPTOR_WRITE(APP_USBD_DESCRIPTOR_INTERFACE); // bDescriptorType = Interface

        static app_usbd_class_iface_conf_t const * p_cur_iface = NULL;
        p_cur_iface = app_usbd_class_iface_get(p_inst, i);
        APP_USBD_CLASS_DESCRIPTOR_WRITE(app_usbd_class_iface_number_get(p_cur_iface)); // bInterfaceNumber

        APP_USBD_CLASS_DESCRIPTOR_WRITE(0x00); // bAlternateSetting
        APP_USBD_CLASS_DESCRIPTOR_WRITE(app_usbd_class_iface_ep_count_get(p_cur_iface)); // bNumEndpoints
        APP_USBD_CLASS_DESCRIPTOR_WRITE(APP_USBD_HID_CLASS); // bInterfaceClass = HID
        APP_USBD_CLASS_DESCRIPTOR_WRITE(p_kbd->specific.inst.hid_inst.subclass_boot); // bInterfaceSubclass (Boot Interface)
        APP_USBD_CLASS_DESCRIPTOR_WRITE(p_kbd->specific.inst.hid_inst.protocol); // bInterfaceProtocol
        APP_USBD_CLASS_DESCRIPTOR_WRITE(0x00); // iInterface

        /* HID DESCRIPTOR */
        APP_USBD_CLASS_DESCRIPTOR_WRITE(0x09); // bLength
        APP_USBD_CLASS_DESCRIPTOR_WRITE(APP_USBD_HID_DESCRIPTOR_HID);  // bDescriptorType = HID
        APP_USBD_CLASS_DESCRIPTOR_WRITE(LSB_16(APP_USBD_HID_BCD_VER)); // bcdHID LSB
        APP_USBD_CLASS_DESCRIPTOR_WRITE(MSB_16(APP_USBD_HID_BCD_VER)); // bcdHID MSB
        APP_USBD_CLASS_DESCRIPTOR_WRITE(APP_USBD_HID_COUNTRY_NOT_SUPPORTED); // bCountryCode
        APP_USBD_CLASS_DESCRIPTOR_WRITE(hid_kbd_get_class_descriptors_count(p_inst)); // bNumDescriptors

        static uint8_t class_desc_cnt = 0;
        class_desc_cnt = hid_kbd_get_class_descriptors_count(p_inst);
        static uint8_t  j              = 0;
        static uint16_t class_desc_len = 0;

        for (j = 0; j < class_desc_cnt; j++)
        {
            APP_USBD_CLASS_DESCRIPTOR_WRITE(hid_kbd_get_class_descriptors_type(p_inst, j)); // bDescriptorType

            class_desc_len = hid_kbd_get_class_descriptors_length(p_inst, j);
            APP_USBD_CLASS_DESCRIPTOR_WRITE(LSB_16(class_desc_len)); // wDescriptorLength LSB
            APP_USBD_CLASS_DESCRIPTOR_WRITE(MSB_16(class_desc_len)); // wDescriptorLength MSB
        }

        static uint8_t endpoints = 0;
        endpoints = app_usbd_class_iface_ep_count_get(p_cur_iface);

        for (j = 0; j < endpoints; j++)
        {
            /* ENDPOINT DESCRIPTOR */
            APP_USBD_CLASS_DESCRIPTOR_WRITE(0x07); // bLength
            APP_USBD_CLASS_DESCRIPTOR_WRITE(APP_USBD_DESCRIPTOR_ENDPOINT); // bDescriptorType = Endpoint

            static app_usbd_class_ep_conf_t const * p_cur_ep = NULL;
            p_cur_ep = app_usbd_class_iface_ep_get(p_cur_iface, j);
            APP_USBD_CLASS_DESCRIPTOR_WRITE(app_usbd_class_ep_address_get(p_cur_ep)); // bEndpointAddress
            APP_USBD_CLASS_DESCRIPTOR_WRITE(APP_USBD_DESCRIPTOR_EP_ATTR_TYPE_INTERRUPT); // bmAttributes
            APP_USBD_CLASS_DESCRIPTOR_WRITE(LSB_16(NRF_DRV_USBD_EPSIZE)); // wMaxPacketSize LSB
            APP_USBD_CLASS_DESCRIPTOR_WRITE(MSB_16(NRF_DRV_USBD_EPSIZE)); // wMaxPacketSize MSB
            APP_USBD_CLASS_DESCRIPTOR_WRITE(p_kbd->specific.inst.hid_inst.p_ep_interval[j]); // bInterval
        }
    }

    APP_USBD_CLASS_DESCRIPTOR_END();
}


ret_code_t hid_kbd_on_set_protocol(app_usbd_hid_kbd_t const * p_kbd, app_usbd_hid_user_event_t ev)
{
    app_usbd_hid_kbd_ctx_t * p_kbd_ctx = hid_kbd_ctx_get(p_kbd);
    if (ev == APP_USBD_HID_USER_EVT_SET_BOOT_PROTO)
    {
        p_kbd_ctx->hid_ctx.selected_protocol = APP_USBD_HID_PROTO_BOOT;
    }
    else if (ev == APP_USBD_HID_USER_EVT_SET_REPORT_PROTO)
    {
        p_kbd_ctx->hid_ctx.selected_protocol = APP_USBD_HID_PROTO_REPORT;
    }
    else
    {
        return NRF_ERROR_NOT_SUPPORTED;
    }
    return NRF_SUCCESS;
}


static ret_code_t hid_kbd_on_idle(app_usbd_class_inst_t const * p_inst, uint8_t report_id)
{
    UNUSED_PARAMETER(report_id);
    app_usbd_hid_kbd_t const * p_kbd    = (app_usbd_hid_kbd_t const *)p_inst;
    app_usbd_hid_kbd_ctx_t      * p_kbd_ctx = hid_kbd_ctx_get(p_kbd);
    nrf_drv_usbd_ep_t ep_addr = app_usbd_hid_epin_addr_get(p_inst);
    app_usbd_hid_state_flag_clr(&p_kbd_ctx->hid_ctx, APP_USBD_HID_STATE_FLAG_TRANS_IN_PROGRESS);

    app_usbd_hid_report_buffer_t const * p_rep_buffer = hid_kbd_rep_buffer_get(p_kbd);
    NRF_DRV_USBD_TRANSFER_IN(transfer, p_rep_buffer->p_buff, p_rep_buffer->size);
    UNUSED_RETURN_VALUE(hid_kbd_transfer_next(p_kbd));

    ret_code_t ret;
    CRITICAL_REGION_ENTER();
    ret = app_usbd_ep_transfer(ep_addr, &transfer);
    if (ret == NRF_SUCCESS)
    {
        app_usbd_hid_state_flag_set(&p_kbd_ctx->hid_ctx, APP_USBD_HID_STATE_FLAG_TRANS_IN_PROGRESS);
    }
    CRITICAL_REGION_EXIT();
    
    return NRF_SUCCESS;
}

/** @} */

const app_usbd_hid_methods_t app_usbd_hid_kbd_methods = {
    .on_get_report              = hid_kbd_on_get_report,
    .on_set_report              = hid_kbd_on_set_report,
    .ep_transfer_in             = hid_kbd_ep_transfer_in,
    .ep_transfer_out            = NULL,
    .subclass_count             = hid_kbd_get_class_descriptors_count,
    .subclass_length            = hid_kbd_get_class_descriptors_length,
    .subclass_data              = hid_kbd_get_class_descriptors_data,
    .on_idle                    = hid_kbd_on_idle,
};

const app_usbd_class_methods_t app_usbd_hid_kbd_class_methods = {
    .event_handler            = hid_kbd_event_handler,
    .feed_descriptors         = hid_kbd_feed_descriptors,
};

#endif //NRF_MODULE_ENABLED(APP_USBD_HID_KBD)
```

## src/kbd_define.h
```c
#ifndef KBD_DEFINE_H
#define KBD_DEFINE_H

#define KBD_KEY_COUNT 88
#define KBD_MATRIX_SCAN_BYTES (KBD_KEY_COUNT / 8)

#define KBD_SCAN_PERIOD_US 1000
#define KBD_DEBOUNCE_TIME_US 2000
#define KBD_DEBOUNCE_COUNTER_THRESHOLD \
	(KBD_DEBOUNCE_TIME_US / KBD_SCAN_PERIOD_US)

/*
 * Define KBD_ENABLE_LOG in the build when firmware logs are needed.
 * Without it, project module logs are compiled out.
 */
#ifdef KBD_ENABLE_LOG
#define KBD_LOG_LEVEL LOG_LEVEL_INF
#else
#define KBD_LOG_LEVEL LOG_LEVEL_NONE
#endif

#define KBD_MAIN_THREAD_PRIORITY 2
#define KBD_RGB_THREAD_PRIORITY 7
#define KBD_RGB_THREAD_STACK_SIZE 1024
#define KBD_RGB_THREAD_FPS 20
#define KBD_RGB_THREAD_PERIOD_MS (1000 / KBD_RGB_THREAD_FPS)

/*
 * 2.4G connection supervision.
 *
 * TX success means the dongle is reachable and should reset the disconnect
 * counter. A failed normal key report may update the counter immediately,
 * because it represents real user input. A failed keep-alive packet should
 * update the counter only once per KBD_WIRELESS_DISCONNECT_COUNTER_PERIOD_MS,
 * otherwise the keep-alive traffic can make the keyboard disconnect too fast.
 *
 * Keep-alive packets are for radio link maintenance only. They must not reset
 * the wireless sleep/idle timer.
 */
#define KBD_WIRELESS_KEEP_ALIVE_PERIOD_MS 20
#define KBD_WIRELESS_DISCONNECT_COUNTER_PERIOD_MS 100
#define KBD_WIRELESS_DISCONNECT_COUNTER_THRESHOLD 20

#define KBD_HID_REPORT_ID_KEYBOARD 1
#define KBD_HID_REPORT_ID_CONSUMER 2

#define KBD_HID_KEYBOARD_BITMAP_BITS 120
#define KBD_HID_KEYBOARD_BITMAP_BYTES (KBD_HID_KEYBOARD_BITMAP_BITS / 8)
#define KBD_HID_KEYBOARD_REPORT_BYTES (1 + 1 + KBD_HID_KEYBOARD_BITMAP_BYTES)
#define KBD_HID_CONSUMER_REPORT_BYTES 2

#define KBD_HID_KEYBOARD_USAGE_MAX 0x77
#define KBD_HID_KEYBOARD_BITMAP_BIT_OFFSET 16

#endif /* KBD_DEFINE_H */
```

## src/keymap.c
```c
#include "keymap.h"

#include <stddef.h>
#include <string.h>

#include <key_state.h>

static bool fn_key_map[KBD_KEY_COUNT];

static const uint16_t key_table[KBD_KEYMAP_LAYER_COUNT][KBD_KEY_COUNT] = {
	{
		MODIFIER_LEFT_CTRL, MODIFIER_LEFT_UI, MODIFIER_LEFT_SHIFT, KEYBOARD_CAPS_LOCK,
		KEYBOARD_TAB, KEYBOARD_TILDE, KEYBOARD_ESCAPE, KEYBOARD_1,
		KEYBOARD_Q, KEYBOARD_A, KEYBOARD_Z, MODIFIER_LEFT_ALT,
		KEYBOARD_X, KEYBOARD_S, KEYBOARD_W, KEYBOARD_2,
		KEYBOARD_F1, KEYBOARD_F2, KEYBOARD_3, KEYBOARD_E,
		KEYBOARD_D, KEYBOARD_C, KEYBOARD_V, KEYBOARD_F,
		KEYBOARD_R, KEYBOARD_4, KEYBOARD_F3, KEYBOARD_F4,
		KEYBOARD_5, KEYBOARD_T, KEYBOARD_G, KEYBOARD_B,
		KEYBOARD_SPACEBAR, KEYBOARD_N, KEYBOARD_H, KEYBOARD_Y,
		KEYBOARD_6, KEYBOARD_F5, KEYBOARD_7, KEYBOARD_U,
		KEYBOARD_J, KEYBOARD_M, MODIFIER_RIGHT_ALT, KEYBOARD_COMMA,
		KEYBOARD_K, KEYBOARD_I, KEYBOARD_8, KEYBOARD_F6,
		KEYBOARD_F7, KEYBOARD_9, KEYBOARD_O, KEYBOARD_L,
		KEYBOARD_PERIOD, MODIFIER_RIGHT_UI, KBD_KEY_FN, KEYBOARD_SLASH,
		KEYBOARD_SEMI_COLON, KEYBOARD_P, KEYBOARD_0, KEYBOARD_F8,
		KEYBOARD_F9, KEYBOARD_MINUS, KEYBOARD_OPEN_BRACKET, KEYBOARD_QUOTE,
		KEYBOARD_CLOSE_BRACKET, KEYBOARD_PLUS, KEYBOARD_F10, KEYBOARD_F11,
		KEYBOARD_F12, KEYBOARD_BACKSPACE, KEYBOARD_BACKSLASH, KEYBOARD_ENTER,
		MODIFIER_RIGHT_SHIFT, MODIFIER_RIGHT_CTRL, KEYBOARD_LEFT, KEYBOARD_DOWN,
		KEYBOARD_UP, KEYBOARD_END, KEYBOARD_HOME, KEYBOARD_DELETE,
		KEYBOARD_PRINTSCREEN, KEYBOARD_PAGEUP, KEYBOARD_PAGEDOWN, KEYBOARD_RIGHT,
		CONSUMER_MUTE,
	},
	{
		MODIFIER_LEFT_CTRL, MODIFIER_LEFT_UI, MODIFIER_LEFT_SHIFT, KEYBOARD_CAPS_LOCK,
		KEYBOARD_TAB, KEYBOARD_TILDE, KEYBOARD_ESCAPE, KEYBOARD_1,
		KEYBOARD_Q, KEYBOARD_A, KEYBOARD_Z, MODIFIER_LEFT_ALT,
		KEYBOARD_X, KEYBOARD_S, KEYBOARD_W, KEYBOARD_2,
		KEYBOARD_F1, KEYBOARD_F2, KEYBOARD_3, KEYBOARD_E,
		KEYBOARD_D, KEYBOARD_C, KEYBOARD_V, KEYBOARD_F,
		KEYBOARD_R, KEYBOARD_4, KEYBOARD_F3, KEYBOARD_F4,
		KEYBOARD_5, KEYBOARD_T, KEYBOARD_G, KEYBOARD_B,
		KEYBOARD_SPACEBAR, KEYBOARD_N, KEYBOARD_H, KEYBOARD_Y,
		KEYBOARD_6, KEYBOARD_F5, KEYBOARD_7, KEYBOARD_U,
		KEYBOARD_J, KEYBOARD_M, MODIFIER_RIGHT_ALT, KEYBOARD_COMMA,
		KEYBOARD_K, KEYBOARD_I, KEYBOARD_8, KEYBOARD_F6,
		KEYBOARD_F7, KEYBOARD_9, KEYBOARD_O, KEYBOARD_L,
		KEYBOARD_PERIOD, MODIFIER_RIGHT_UI, KBD_KEY_FN, KEYBOARD_SLASH,
		KEYBOARD_SEMI_COLON, KEYBOARD_P, KEYBOARD_0, KEYBOARD_F8,
		KEYBOARD_F9, KEYBOARD_MINUS, KEYBOARD_OPEN_BRACKET, KEYBOARD_QUOTE,
		KEYBOARD_CLOSE_BRACKET, KEYBOARD_PLUS, KEYBOARD_F10, KEYBOARD_F11,
		CONSUMER_AL_CALCULATOR, KEYBOARD_BACKSPACE, KEYBOARD_BACKSLASH, KEYBOARD_ENTER,
		MODIFIER_RIGHT_SHIFT, MODIFIER_RIGHT_CTRL, KEYBOARD_LEFT, KEYBOARD_DOWN,
		KEYBOARD_UP, KEYBOARD_END, KEYBOARD_HOME, KEYBOARD_INSERT,
		CONSUMER_PLAY_PAUSE, KEYBOARD_PAGEUP, KEYBOARD_PAGEDOWN, KEYBOARD_RIGHT,
		CONSUMER_MUTE,
	},
};

void keymap_init(void)
{
	memset(fn_key_map, 0, sizeof(fn_key_map));

	for (uint16_t key = 0; key < KBD_KEY_COUNT; key++) {
		for (uint8_t layer = 0; layer < KBD_KEYMAP_LAYER_COUNT; layer++) {
			if (key_table[layer][key] == KBD_KEY_FN) {
				fn_key_map[key] = true;
			}
		}
	}
}

bool keymap_is_fn_key(uint16_t key_index)
{
	if (key_index >= KBD_KEY_COUNT) {
		return false;
	}

	return fn_key_map[key_index];
}

uint16_t keymap_get_code(uint8_t layer, uint16_t key_index)
{
	if (layer >= KBD_KEYMAP_LAYER_COUNT || key_index >= KBD_KEY_COUNT) {
		return KBD_KEY_NONE;
	}

	return key_table[layer][key_index];
}

uint8_t keymap_get_active_layer(void)
{
	struct key_state *keys = key_state_buffer_get();

	for (uint16_t key = 0; key < KBD_KEY_COUNT; key++) {
		if (fn_key_map[key] && keys[key].press_status) {
			return 1;
		}
	}

	return 0;
}
```
